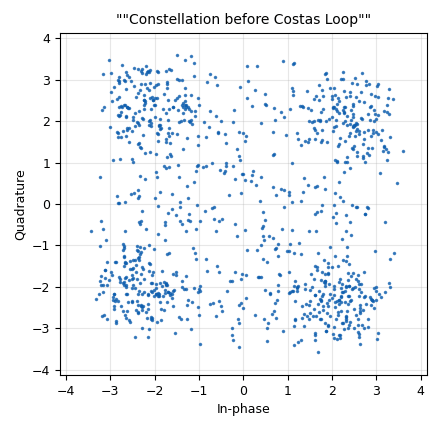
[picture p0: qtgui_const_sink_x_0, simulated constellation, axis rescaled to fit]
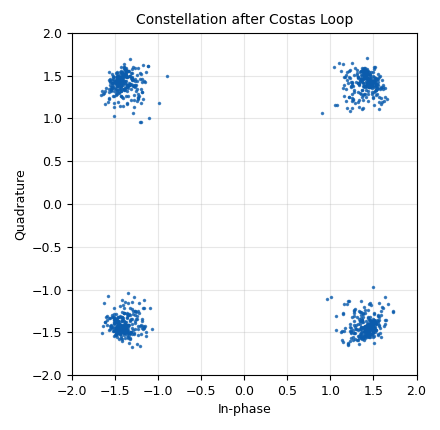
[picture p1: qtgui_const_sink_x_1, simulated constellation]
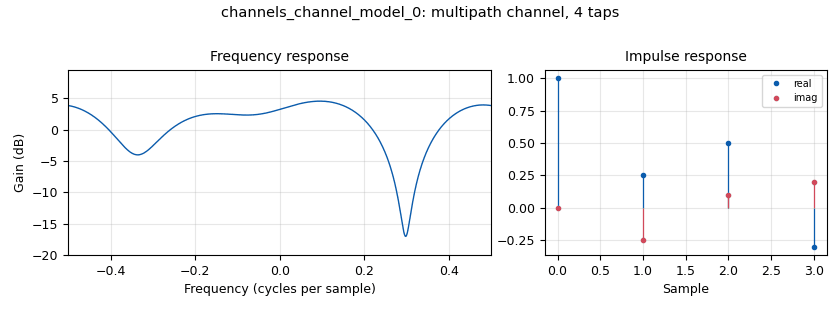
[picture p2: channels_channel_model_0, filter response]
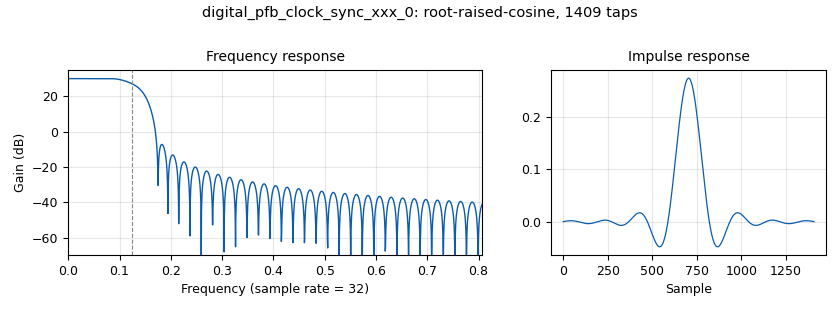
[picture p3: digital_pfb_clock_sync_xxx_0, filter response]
options:
  parameters:
    category: Custom
    generate_options: qt_gui
    id: mpsk_stage5
    output_language: python
  states: {}

blocks:
- name: arity
  id: variable
  parameters:
    value: '4'
  states: {}
- name: freq_offset
  id: variable_qtgui_range
  parameters:
    gui_hint: 2,1,1,1
    label: 'Channel: Frequency Offset'
    start: '-0.1'
    step: '0.001'
    stop: '0.1'
    value: '0'
  states: {}
- name: nfilts
  id: variable
  parameters:
    value: '32'
  states: {}
- name: noise_volt
  id: variable_qtgui_range
  parameters:
    gui_hint: 2,0,1,1
    label: 'Channel: Noise Voltage'
    start: '0'
    step: '0.01'
    stop: '1'
    value: '0.0001'
    widget: slider
  states: {}
- name: rrc_taps
  id: variable
  parameters:
    value: firdes.root_raised_cosine(nfilts, nfilts, 1.0/float(sps), 0.35, 11*sps*nfilts)
  states: {}
- name: samp_rate
  id: variable
  parameters:
    value: '32000'
  states: {}
- name: sps
  id: variable
  parameters:
    value: '4'
  states: {}
- name: taps
  id: variable
  parameters:
    value: '[1.0, 0.25-0.25j, 0.50 + 0.10j, -0.3 + 0.2j]'
  states: {}
- name: time_offset
  id: variable_qtgui_range
  parameters:
    gui_hint: 3,0,1,1
    label: 'Channel: Timing Offset'
    start: '0.999'
    step: '0.0001'
    stop: '1.001'
    value: '1.00'
  states: {}
- name: variable_adaptive_algorithm_0
  id: variable_adaptive_algorithm
  parameters:
    cons: variable_constellation_2
    modulus: '4'
    step_size: '0.0005'
    type: lms
  states: {}
- name: variable_constellation_2
  id: variable_constellation
  parameters:
    const_points: '[1, -1]'
    precision: '8'
    sym_map: '[0,1]'
    type: qpsk
  states: {}
- name: analog_random_source_x_0
  id: analog_random_source_x
  parameters:
    max: '256'
    min: '0'
    num_samps: '1000'
    repeat: 'True'
    type: byte
  states: {}
- name: blocks_throttle2_0
  id: blocks_throttle2
  parameters:
    samples_per_second: samp_rate
    type: complex
  states: {}
- name: channels_channel_model_0
  id: channels_channel_model
  parameters:
    epsilon: time_offset
    freq_offset: freq_offset
    noise_voltage: noise_volt
    seed: '0'
    taps: taps
  states: {}
- name: digital_constellation_modulator_0_0
  id: digital_constellation_modulator
  parameters:
    constellation: variable_constellation_2
    differential: 'True'
    excess_bw: '0.35'
    samples_per_symbol: sps
  states: {}
- name: digital_costas_loop_cc_0
  id: digital_costas_loop_cc
  parameters:
    order: '4'
    w: '0.0628'
  states: {}
- name: digital_linear_equalizer_0
  id: digital_linear_equalizer
  parameters:
    adapt_after_training: '1'
    alg: variable_adaptive_algorithm_0
    num_taps: '25'
    sps: '1'
    training_sequence: '[]'
    training_start_tag: ''
  states: {}
- name: digital_pfb_clock_sync_xxx_0
  id: digital_pfb_clock_sync_xxx
  parameters:
    filter_size: nfilts
    init_phase: nfilts/2
    loop_bw: '0.0628'
    max_dev: '1.5'
    osps: '1'
    sps: sps
    taps: rrc_taps
    type: ccf
  states: {}
- name: qtgui_const_sink_x_0
  id: qtgui_const_sink_x
  parameters:
    name: '""Constellation before Costas Loop""'
    size: '1024'
    type: complex
  states: {}
- name: qtgui_const_sink_x_1
  id: qtgui_const_sink_x
  parameters:
    name: '"Constellation after Costas Loop"'
    size: '1024'
    type: complex
  states: {}

connections:
- [analog_random_source_x_0, '0', digital_constellation_modulator_0_0, '0']
- [blocks_throttle2_0, '0', channels_channel_model_0, '0']
- [channels_channel_model_0, '0', digital_pfb_clock_sync_xxx_0, '0']
- [channels_channel_model_0, '0', qtgui_const_sink_x_0, '0']
- [digital_constellation_modulator_0_0, '0', blocks_throttle2_0, '0']
- [digital_costas_loop_cc_0, '0', qtgui_const_sink_x_1, '0']
- [digital_linear_equalizer_0, '0', digital_costas_loop_cc_0, '0']
- [digital_pfb_clock_sync_xxx_0, '0', digital_linear_equalizer_0, '0']

metadata:
  file_format: 1
  grc_version: 3.10.7.0
